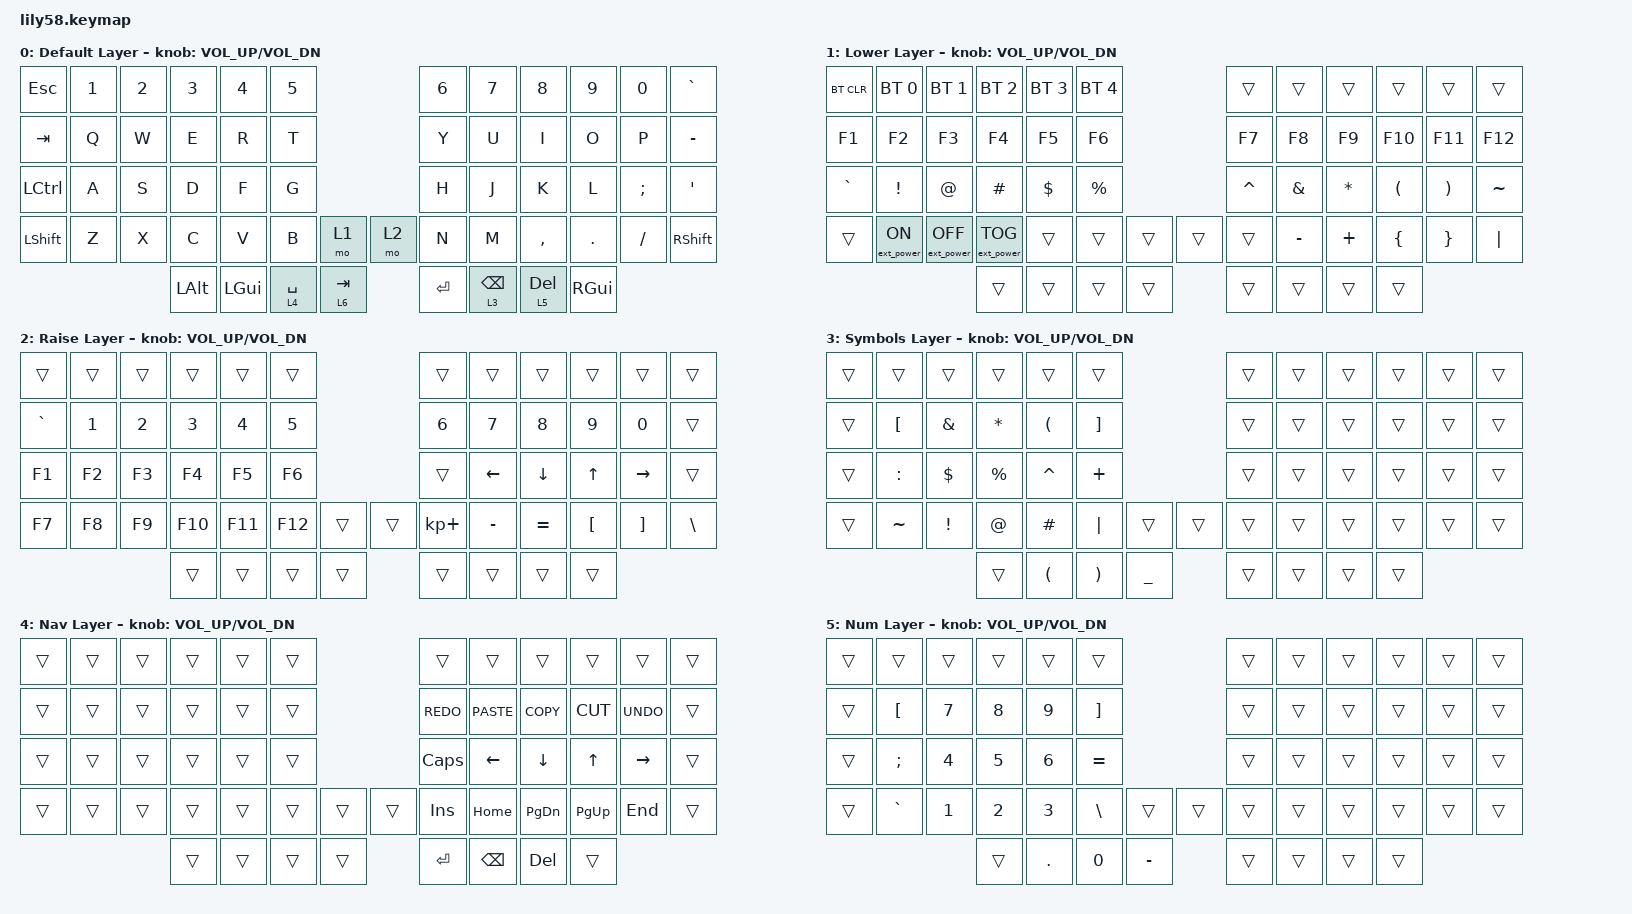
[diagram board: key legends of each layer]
/*
 * Copyright (c) 2020 The ZMK Contributors
 *
 * SPDX-License-Identifier: MIT
 */

#include <behaviors.dtsi>
#include <dt-bindings/zmk/keys.h>
#include <dt-bindings/zmk/bt.h>
#include <dt-bindings/zmk/ext_power.h>

/ {
    keymap {
        compatible = "zmk,keymap";

        default_layer {
            display-name = "Default Layer";
// ------------------------------------------------------------------------------------------------------------
// |  ESC  |  1  |  2  |  3   |  4   |  5   |                   |  6   |  7    |  8    |  9   |   0   |   `   |
// |  TAB  |  Q  |  W  |  E   |  R   |  T   |                   |  Y   |  U    |  I    |  O   |   P   |   -   |
// |  CTRL |  A  |  S  |  D   |  F   |  G   |                   |  H   |  J    |  K    |  L   |   ;   |   '   |
// | SHIFT |  Z  |  X  |  C   |  V   |  B   |   "["  |  |  "]"  |  N   |  M    |  ,    |  .   |   /   | SHIFT |
//                     | ALT  | GUI  | LOWER|  SPACE |  | ENTER | RAISE| BSPC  | GUI   |
            bindings = <
&kp ESC   &kp N1 &kp N2 &kp N3   &kp N4   &kp N5                     &kp N6 &kp N7   &kp N8    &kp N9  &kp N0   &kp GRAVE
&kp TAB   &kp Q  &kp W  &kp E    &kp R    &kp T                      &kp Y  &kp U    &kp I     &kp O   &kp P    &kp MINUS
&kp LCTRL &kp A  &kp S  &kp D    &kp F    &kp G                      &kp H  &kp J    &kp K     &kp L   &kp SEMI &kp SQT
&kp LSHFT &kp Z  &kp X  &kp C    &kp V    &kp B  &mo 1   &mo 2       &kp N  &kp M    &kp COMMA &kp DOT &kp FSLH &kp RSHFT
                        &kp LALT &kp LGUI &lt 4 SPACE  &lt 6 TAB  &kp RET  &lt 3 BSPC &lt 5 DEL &kp RGUI
            >;

            sensor-bindings = <&inc_dec_kp C_VOL_UP C_VOL_DN>;
        };

        lower_layer {
            display-name = "Lower Layer";
// ------------------------------------------------------------------------------------------------------------
// | BTCLR | BT1 | BT2 |  BT3 |  BT4 |  BT5 |                   |      |       |       |      |       |       |
// |  F1   |  F2 |  F3 |  F4  |  F5  |  F6  |                   |  F7  |  F8   |  F9   |  F10 |  F11  |  F12  |
// |   `   |  !  |  @  |  #   |  $   |  %   |                   |  ^   |  &    |  *    |  (   |   )   |   ~   |
// |       |     |     |      |      |      |        |  |       |      |  _    |  +    |  {   |   }   |  "|"  |
//                     |      |      |      |        |  |       |      |       |       |
            bindings = <
&bt BT_CLR &bt BT_SEL 0     &bt BT_SEL 1      &bt BT_SEL 2      &bt BT_SEL 3 &bt BT_SEL 4                 &trans    &trans    &trans    &trans    &trans    &trans
&kp F1     &kp F2           &kp F3            &kp F4            &kp F5       &kp F6                       &kp F7    &kp F8    &kp F9    &kp F10   &kp F11   &kp F12
&kp GRAVE  &kp EXCL         &kp AT            &kp HASH          &kp DOLLAR   &kp PRCNT                    &kp CARET &kp AMPS  &kp ASTRK &kp LPAR  &kp RPAR  &kp TILDE
&trans     &ext_power EP_ON &ext_power EP_OFF &ext_power EP_TOG &trans       &trans    &trans   &trans    &trans    &kp MINUS &kp PLUS  &kp LBRC  &kp RBRC  &kp PIPE
                                              &trans            &trans       &trans    &trans   &trans    &trans    &trans    &trans
            >;

            sensor-bindings = <&inc_dec_kp C_VOL_UP C_VOL_DN>;
        };

        raise_layer {
            display-name = "Raise Layer";
// ------------------------------------------------------------------------------------------------------------
// |       |     |     |      |      |      |                   |      |       |       |      |       |       |
// |   `   |  1  |  2  |  3   |  4   |  5   |                   |  6   |   7   |   8   |  9   |   0   |       |
// |   F1  |  F2 |  F3 |  F4  |  F5  |  F6  |                   |      |   <-  |   v   |  ^   |  ->   |       |
// |   F7  |  F8 |  F9 |  F10 |  F11 |  F12 |        |  |       |  +   |   -   |   =   |  [   |   ]   |   \   |
//                     |      |      |      |        |  |       |      |       |       |
            bindings = <
&trans    &trans &trans &trans  &trans  &trans                       &trans      &trans    &trans    &trans   &trans    &trans
&kp GRAVE &kp N1 &kp N2 &kp N3  &kp N4  &kp N5                       &kp N6      &kp N7    &kp N8    &kp N9   &kp N0    &trans
&kp F1    &kp F2 &kp F3 &kp F4  &kp F5  &kp F6                       &trans      &kp LEFT  &kp DOWN  &kp UP   &kp RIGHT &trans
&kp F7    &kp F8 &kp F9 &kp F10 &kp F11 &kp F12   &trans   &trans    &kp KP_PLUS &kp MINUS &kp EQUAL &kp LBKT &kp RBKT  &kp BSLH
                        &trans  &trans  &trans    &trans   &trans    &trans      &trans    &trans
            >;

            sensor-bindings = <&inc_dec_kp C_VOL_UP C_VOL_DN>;
        };
        sym_layer {
            display-name = "Symbols Layer";
// ------------------------------------------------------------------------------------------------------------
// |       |     |     |      |      |      |                   |      |       |       |      |       |       |
// |       |  {  |  &  |  *   |  (   |  }   |                   |      |       |       |      |       |       |
// |       |  :  |  $  |  %   |  ^   |  +   |                   |      |       |       |      |       |       |
// |       |  ~  |  !  |  @   |  #   |  |   |        |  |       |      |       |       |      |       |       |
//                     |      |  (   |  )   |   _    |  |       |      |       |       |
            bindings = <
&trans    &trans &trans &trans  &trans  &trans                    &trans      &trans    &trans    &trans   &trans    &trans
&trans    &kp LBKT &kp AMPS &kp ASTRK &kp LPAR  &kp RBKT                &trans      &trans    &trans    &trans   &trans    &trans
&trans    &kp COLON &kp DOLLAR &kp PERCENT &kp CARET  &kp PLUS    &trans      &trans  &trans  &trans   &trans &trans
&trans    &kp TILDE &kp EXCL &kp AT  &kp HASH  &kp PIPE   &trans   &trans    &trans &trans &trans &trans &trans  &trans
                        &trans  &kp LPAR  &kp RPAR &kp UNDER  &trans    &trans      &trans    &trans
            >;

            sensor-bindings = <&inc_dec_kp C_VOL_UP C_VOL_DN>;
        };
        nav_layer {
            display-name = "Nav Layer";
// ------------------------------------------------------------------------------------------------------------
// |       |     |     |      |      |      |                   |      |       |       |      |       |       |
// |       |     |     |      |      |      |                   | Redo | Paste | Copy  | Cut  | Undo  |       |
// |       |     |     |      |      |      |                   | C-Lck|  <-   |  v    |  ^   |  ->   |       |
// |       |     |     |      |      |      |        |  |       | Ins  | Home  | pgdn  | pgup | End   |       |
//                     |      |      |      |        |  | Ent   | BSPC | DEL   |       |
            bindings = <
&trans    &trans &trans &trans  &trans  &trans                    &trans      &trans    &trans    &trans   &trans    &trans
&trans    &trans &trans &trans  &trans  &trans                    &kp K_REDO  &kp K_PASTE &kp K_COPY  &kp K_CUT  &kp K_UNDO  &trans
&trans    &trans &trans &trans  &trans  &trans                    &kp CAPS  &kp LEFT  &kp DOWN  &kp UP   &kp RIGHT &trans
&trans    &trans &trans &trans  &trans  &trans   &trans   &trans  &kp INS &kp HOME &kp PG_DN &kp PG_UP &kp END  &trans
                        &trans  &trans  &trans   &trans   &kp RET &kp BSPC  &kp DEL    &trans
            >;

            sensor-bindings = <&inc_dec_kp C_VOL_UP C_VOL_DN>;
        };
        num_layer {
            display-name = "Num Layer";
// ------------------------------------------------------------------------------------------------------------
// |       |     |     |      |      |      |                   |      |       |       |      |       |       |
// |       |  [  |  7  |  8   |  9   |  ]   |                   |      |       |       |      |       |       |
// |       |  ;  |  4  |  5   |  6   |  =   |                   |      |       |       |      |       |       |
// |       |  `  |  1  |  2   |  3   |  \   |        |  |       |      |       |       |      |       |       |
//                     |      |  .   |  0   |   -    |  |       |      |       |       |
            bindings = <
&trans    &trans &trans &trans  &trans  &trans                    &trans      &trans    &trans    &trans   &trans    &trans
&trans    &kp LBKT &kp N7 &kp N8  &kp N9  &kp RBKT                &trans      &trans    &trans    &trans   &trans    &trans
&trans    &kp SEMI &kp N4 &kp N5  &kp N6  &kp EQUAL               &trans      &trans  &trans  &trans   &trans &trans
&trans    &kp GRAVE &kp N1 &kp N2  &kp N3  &kp BSLH   &trans   &trans    &trans &trans &trans &trans &trans  &trans
                        &trans  &kp DOT  &kp N0   &kp MINUS  &trans    &trans      &trans    &trans
            >;

            sensor-bindings = <&inc_dec_kp C_VOL_UP C_VOL_DN>;
        };
    };
};
